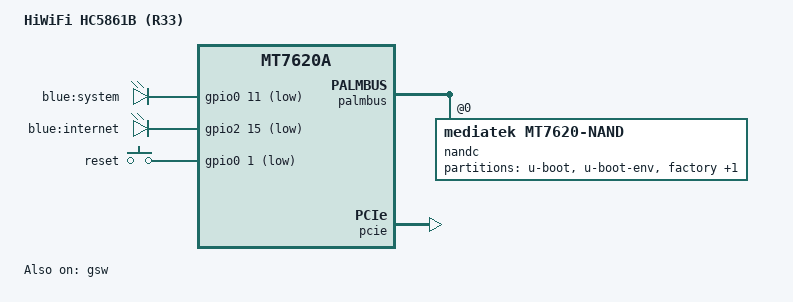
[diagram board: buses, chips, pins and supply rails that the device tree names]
/dts-v1/;

#include "mt7620a.dtsi"
#include <dt-bindings/gpio/gpio.h>
#include <dt-bindings/input/input.h>

/ {
	compatible = "hiwifi,hc5861b", "mediatek,mt7620a-soc";
	model = "HiWiFi HC5861B (R33)";

	aliases {
		led-boot = &led_system;
		led-failsafe = &led_system;
		led-running = &led_system;
		led-upgrade = &led_system;
	};

	leds {
		compatible = "gpio-leds";
		led_system: system {
			label = "blue:system";
			gpios = <&gpio0 11 GPIO_ACTIVE_LOW>;
		};

		internet {
			label = "blue:internet";
			gpios = <&gpio2 15 GPIO_ACTIVE_LOW>;
		};
	};

	keys {
		compatible = "gpio-keys";
		reset {
			label = "reset";
			gpios = <&gpio0 1 GPIO_ACTIVE_LOW>;
			linux,code = <KEY_RESTART>;
		};
	};
};

/* 核心修复：直接在总线下定义 NAND 节点 */
&palmbus {
	nandc@0 {
		compatible = "mediatek,mt7620-nand";
		reg = <0x0 0x100>;
		status = "okay";

		pinctrl-names = "default";
		pinctrl-0 = <&nd_sd_pins>;

		nand-chip@0 {
			reg = <0>;
			label = "mtk-nand";

			partitions {
				compatible = "fixed-partitions";
				#address-cells = <1>;
				#size-cells = <1>;

				partition@0 {
					label = "u-boot";
					reg = <0x0 0x30000>;
					read-only;
				};

				partition@30000 {
					label = "u-boot-env";
					reg = <0x30000 0x10000>;
					read-only;
				};

				factory: partition@40000 {
					label = "factory";
					reg = <0x40000 0x10000>;
					read-only;
				};

				partition@50000 {
					label = "firmware";
					reg = <0x50000 0x7fb0000>;
				};
			};
		};
	};
};

&state_default {
	gpio {
		groups = "i2c", "uartf", "rgmii1", "rgmii2", "wled", "nd_sd";
		function = "gpio";
	};
};

&ethernet {
	pinctrl-names = "default";
	pinctrl-0 = <&rgmii1_pins &rgmii2_pins &mdio_pins>;
	port@5 {
		status = "okay";
		phy-mode = "rgmii";
		mediatek,fixed-link = <1000 1 1 1>;
	};
};

&gsw {
	mediatek,port4 = "gmac";
	mediatek,mdio-mode = <1>;
	status = "okay";
};

&pcie {
	status = "okay";
};
